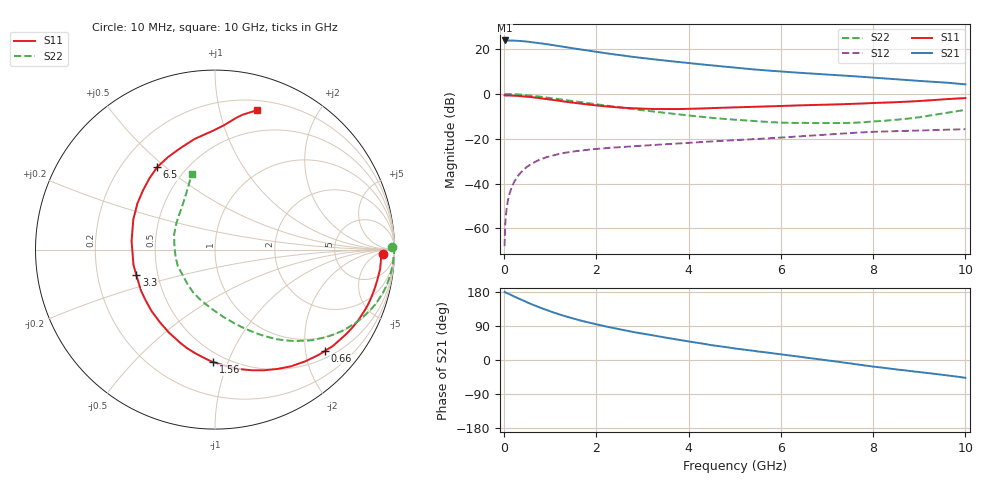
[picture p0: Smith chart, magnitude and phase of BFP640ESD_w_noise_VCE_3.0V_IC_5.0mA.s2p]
! Infineon Technologies  Discrete & RF Semiconductors
! BFP640ESD
! VCE =  3.0 V,  IC =  5.0 mA
! Common Emitter S-Parameters:  Jan 2016
# GHz  S  MA  R  50
!  f  S11  S21  S12  S22
! GHz  MAG  ANG  MAG  ANG  MAG  ANG  MAG  ANG
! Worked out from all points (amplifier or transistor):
!   233 points, 10 MHz to 10 GHz, reference 50 ohm
!   highest |S21| = 23.9 dB at 10 MHz (marker M1)
!   |S21| within 3 dB of that: start of sweep to 1.342 GHz
!   unconditionally stable (mu >= 1): start of sweep to 10.56 MHz; 4.72 GHz to 9.028 GHz
!   at 200 MHz: K = 0.06, MSG = 31.9 dB, |S12| = -40.0 dB
!   at 1.74 GHz: K = 0.46, MSG = 22.3 dB, |S12| = -25.1 dB
!   at 10 GHz: K = 0.82, MSG = 10.0 dB, |S12| = -15.7 dB
!   lowest NFmin = 0.58 dB at 450 MHz
!   S11 on the Smith chart (normalised r, x): 10 MHz: 27, -11; 660 MHz: 0.65, -2.40; 1.56 GHz: 0.43, -0.89; 3.3 GHz: 0.38, -0.14; 6.5 GHz: 0.35, +0.47; 10 GHz: 0.29, +1.30
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0.01  0.938 -1.5  15.65 179.7  0.0004 21.0  0.9875 0.8
0.03  0.9266 -2.2  15.56 178.4  0.0016 81.3  0.9977 -1.2
0.08  0.9261 -5.5  15.59 175.4  0.0041 84.2  0.9955 -3.2
0.3  0.9057 -20.0  15.37 163.0  0.0148 78.0  0.9754 -12.1
0.5  0.8691 -32.9  14.75 152.2  0.0238 70.9  0.9385 -19.7
0.66  0.8325 -42.8  14.12 144.0  0.0301 65.5  0.9 -25.2
0.9  0.7762 -56.9  13.06 132.7  0.0382 58.6  0.839 -32.8
1.08  0.7301 -66.8  12.23 125.0  0.0432 54.2  0.7909 -37.8
1.3  0.6801 -78.2  11.27 116.4  0.0483 49.5  0.7345 -43.5
1.56  0.6263 -90.8  10.21 107.3  0.053 45.1  0.6736 -49.0
1.68  0.6039 -96.4  9.766 103.4  0.0548 43.4  0.6482 -51.4
2  0.5556 -110.1  8.69 94.2  0.0593 39.8  0.588 -57.0
2.4  0.5081 -127.2  7.614 83.5  0.064 36.2  0.5188 -63.9
2.8  0.4794 -143.6  6.722 73.9  0.0681 33.5  0.4583 -70.8
3.3  0.4604 -161.9  5.842 63.4  0.0732 31.0  0.3988 -79.1
3.4  0.4603 -165.6  5.691 61.2  0.0743 30.6  0.3882 -80.9
4  0.4673 174.1  4.908 48.8  0.0812 28.2  0.331 -93.0
5.1  0.5055 147.4  3.772 29.1  0.094 23.1  0.2622 -119.4
6.5  0.5612 125.0  2.928 7.0  0.1148 16.6  0.2266 -156.1
6.8  0.5699 120.2  2.794 2.4  0.1205 14.6  0.2235 -163.6
8.4  0.649 93.8  2.154 -23.3  0.1471 0.2  0.2596 146.1
10  0.81 73.4  1.64 -47.0  0.1635 -13.6  0.4421 107.0
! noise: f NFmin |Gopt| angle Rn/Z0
0.45  0.58  0.41  10  0.14
0.9  0.6  0.39  22  0.13
1.9  0.67  0.31  47  0.12
2.4  0.72  0.27  62  0.11
5.5  1.09  0.34  -144  0.08
10  2.11  0.63  -83  0.89
